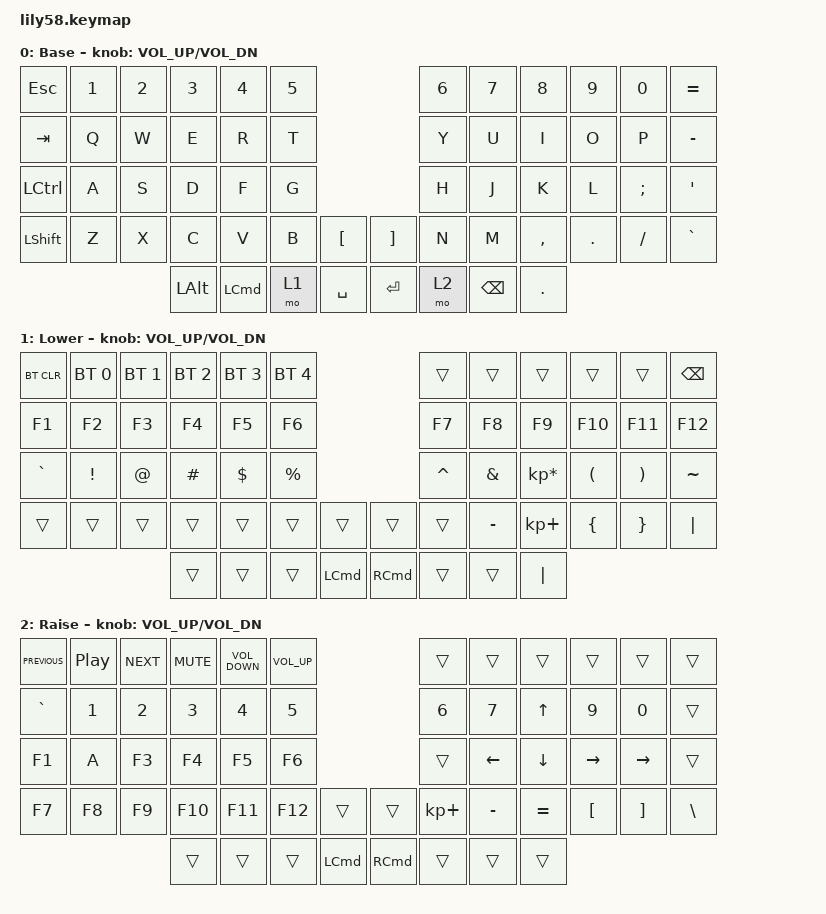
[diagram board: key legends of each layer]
/*
 * Copyright (c) 2020 The ZMK Contributors
 *
 * SPDX-License-Identifier: MIT
 */

#include <behaviors.dtsi>
#include <dt-bindings/zmk/bt.h>
#include <dt-bindings/zmk/keys.h>

/ {
    keymap {
        compatible = "zmk,keymap";

        default_layer {
            // ------------------------------------------------------------------------------------------------------------
            // |  ESC  |  1  |  2  |  3   |  4   |  5   |                   |  6   |  7    |  8    |  9   |   0   |   `   |
            // |  TAB  |  Q  |  W  |  E   |  R   |  T   |                   |  Y   |  U    |  I    |  O   |   P   |   -   |
            // |  CTRL |  A  |  S  |  D   |  F   |  G   |                   |  H   |  J    |  K    |  L   |   ;   |   '   |
            // | SHIFT |  Z  |  X  |  C   |  V   |  B   |   "["  |  |  "]"  |  N   |  M    |  ,    |  .   |   /   | SHIFT |
            //                     | ALT  | GUI  | LOWER|  SPACE |  | ENTER | RAISE| BSPC  | GUI   |

            display-name = "Base";
            bindings = <
&kp ESC    &kp N1  &kp N2  &kp N3    &kp N4            &kp N5                           &kp N6  &kp N7    &kp N8      &kp N9      &kp N0    &kp EQUAL
&kp TAB    &kp Q   &kp W   &kp E     &kp R             &kp T                            &kp Y   &kp U     &kp I       &kp O       &kp P     &kp MINUS
&kp LCTRL  &kp A   &kp S   &kp D     &kp F             &kp G                            &kp H   &kp J     &kp K       &kp L       &kp SEMI  &kp SQT
&kp LSHFT  &kp Z   &kp X   &kp C     &kp V             &kp B   &kp LBKT     &kp RBKT    &kp N   &kp M     &kp COMMA   &kp PERIOD  &kp FSLH  &kp GRAVE
                           &kp LALT  &kp LEFT_COMMAND  &mo 1   &kp SPACE    &kp RETURN  &mo 2   &kp BSPC  &kp PERIOD
            >;

            sensor-bindings = <&inc_dec_kp C_VOL_UP C_VOL_DN>;
        };

        lower_layer {
            // ------------------------------------------------------------------------------------------------------------
            // | BTCLR | BT1 | BT2 |  BT3 |  BT4 |  BT5 |                   |      |       |       |      |       |       |
            // |  F1   |  F2 |  F3 |  F4  |  F5  |  F6  |                   |  F7  |  F8   |  F9   |  F10 |  F11  |  F12  |
            // |   `   |  !  |  @  |  #   |  $   |  %   |                   |  ^   |  &    |  *    |  (   |   )   |   ~   |
            // |       |     |     |      |      |      |        |  |       |      |  _    |  +    |  {   |   }   |  "|"  |
            //                     |      |      |      |        |  |       |      |       |       |

            display-name = "Lower";
            bindings = <
&bt BT_CLR  &bt BT_SEL 0  &bt BT_SEL 1  &bt BT_SEL 2  &bt BT_SEL 3  &bt BT_SEL 4                                         &trans     &trans     &trans           &trans    &trans    &kp BACKSPACE
&kp F1      &kp F2        &kp F3        &kp F4        &kp F5        &kp F6                                               &kp F7     &kp F8     &kp F9           &kp F10   &kp F11   &kp F12
&kp GRAVE   &kp EXCL      &kp AT        &kp HASH      &kp DOLLAR    &kp PRCNT                                            &kp CARET  &kp AMPS   &kp KP_MULTIPLY  &kp LPAR  &kp RPAR  &kp TILDE
&trans      &trans        &trans        &trans        &trans        &trans        &trans              &trans             &trans     &kp MINUS  &kp KP_PLUS      &kp LBRC  &kp RBRC  &kp PIPE
                                        &trans        &trans        &trans        &kp LEFT_COMMAND    &kp RIGHT_COMMAND  &trans     &trans     &kp PIPE
            >;

            sensor-bindings = <&inc_dec_kp C_VOL_UP C_VOL_DN>;
        };

        raise_layer {
            // ------------------------------------------------------------------------------------------------------------
            // |       |     |     |      |      |      |                   |      |       |       |      |       |       |
            // |   `   |  1  |  2  |  3   |  4   |  5   |                   |  6   |   7   |   8   |  9   |   0   |       |
            // |   F1  |  F2 |  F3 |  F4  |  F5  |  F6  |                   |      |   <-  |   v   |  ^   |  ->   |       |
            // |   F7  |  F8 |  F9 |  F10 |  F11 |  F12 |        |  |       |  +   |   -   |   =   |  [   |   ]   |   \   |
            //                     |      |      |      |        |  |       |      |       |       |

            display-name = "Raise";
            bindings = <
&kp C_PREVIOUS  &kp C_PLAY_PAUSE  &kp C_NEXT  &kp C_MUTE  &kp C_VOLUME_DOWN  &kp C_VOLUME_UP                                         &trans       &trans     &trans        &trans           &trans     &trans
&kp GRAVE       &kp N1            &kp N2      &kp N3      &kp N4             &kp N5                                                  &kp N6       &kp N7     &kp UP_ARROW  &kp N9           &kp N0     &trans
&kp F1          &kp A             &kp F3      &kp F4      &kp F5             &kp F6                                                  &trans       &kp LEFT   &kp DOWN      &kp RIGHT_ARROW  &kp RIGHT  &trans
&kp F7          &kp F8            &kp F9      &kp F10     &kp F11            &kp F12          &trans              &trans             &kp KP_PLUS  &kp MINUS  &kp EQUAL     &kp LBKT         &kp RBKT   &kp BSLH
                                              &trans      &trans             &trans           &kp LEFT_COMMAND    &kp RIGHT_COMMAND  &trans       &trans     &trans
            >;

            sensor-bindings = <&inc_dec_kp C_VOL_UP C_VOL_DN>;
        };
    };
};
